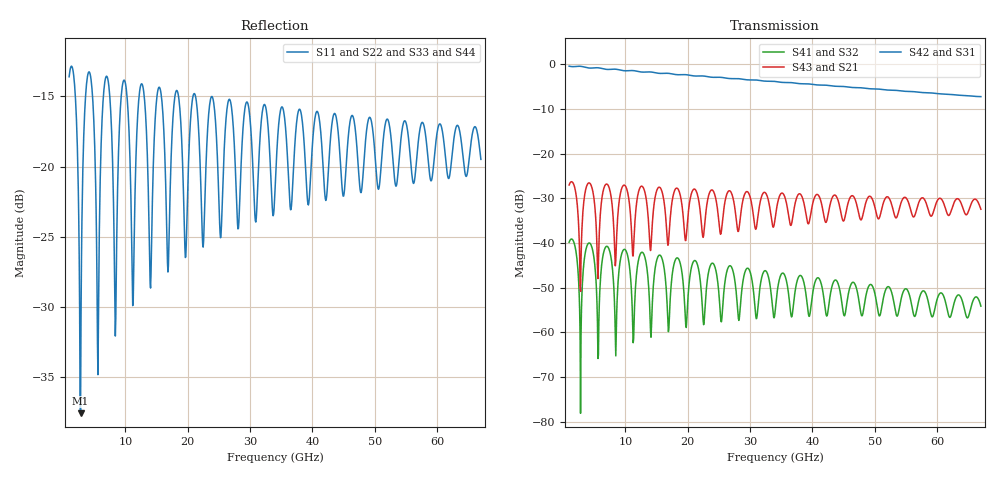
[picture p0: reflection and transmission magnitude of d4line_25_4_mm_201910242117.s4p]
! www.PolarInstruments.com
! File Export V10.11 [9.03]
! For hxji@mail.xidian.edu.cn;QQ=47399897
! File : D:\SJTU\Bachelor\thesis\Coupled_STRP\Code\data\SI\d4line_25_4_mm_201910242117.s4p
! Polar  PCB Transmission Line Field Solver  v11.04.00
# MHz S RI R 50.00
! Line Length = 0.025m ( 1.00 inch )
!  PORT NUMBERING (Classic style)
!  PORT#  PORT#
!  Z1 = Z2 = 50.00  Z3 = Z4 = 50.00
!  1 --|  |-- 3
!  2 --|  |-- 4
! FREQ MHz  S11  S12  S13  S14
!  S21  S22  S23  S24
!  S31  S32  S33  S34
!  S41  S42  S43  S44
!  REAL  IMAG  REAL  IMAG  REAL  IMAG  REAL  IMAG
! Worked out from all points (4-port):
!   901 points, 1 GHz to 67 GHz, reference 50 ohm
!   strongest paths, dB at 1 GHz, 17.5 GHz, 34 GHz, 50.5 GHz, 67 GHz:
!     S42: -0.4, -2.1, -3.8, -5.5, -7.2
!     S31: -0.4, -2.1, -3.8, -5.5, -7.2
!     S43: -27.0, -30.7, -34.7, -34.5, -32.4
!     S21: -27.0, -30.7, -34.7, -34.5, -32.4
!     S41: -39.8, -47.3, -55.6, -55.2, -54.1
!     S32: -39.8, -47.3, -55.6, -55.2, -54.1
!   lowest |S11| = -37.6 dB at 2.833 GHz (marker M1), VSWR 1.03, Z = 51.1 + j0.827 ohm
!   |S11| at or under -10 dB: start of sweep to end of sweep
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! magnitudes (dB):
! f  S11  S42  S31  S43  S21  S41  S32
! 1 GHz  -13.6  -0.4  -0.4  -27.0  -27.0  -39.8  -39.8
! 2.833 GHz  -37.6  -0.4  -0.4  -50.8  -50.8  -78.1  -78.1
! 4.227 GHz  -13.3  -0.8  -0.8  -26.5  -26.5  -40.0  -40.0
! 5.62 GHz  -34.8  -0.7  -0.7  -47.9  -47.9  -65.8  -65.8
! 7.013 GHz  -13.6  -1.1  -1.1  -26.8  -26.8  -40.7  -40.7
! 8.48 GHz  -30.8  -1.1  -1.1  -43.9  -43.9  -65.3  -65.3
! 67 GHz  -19.5  -7.2  -7.2  -32.4  -32.4  -54.1  -54.1
